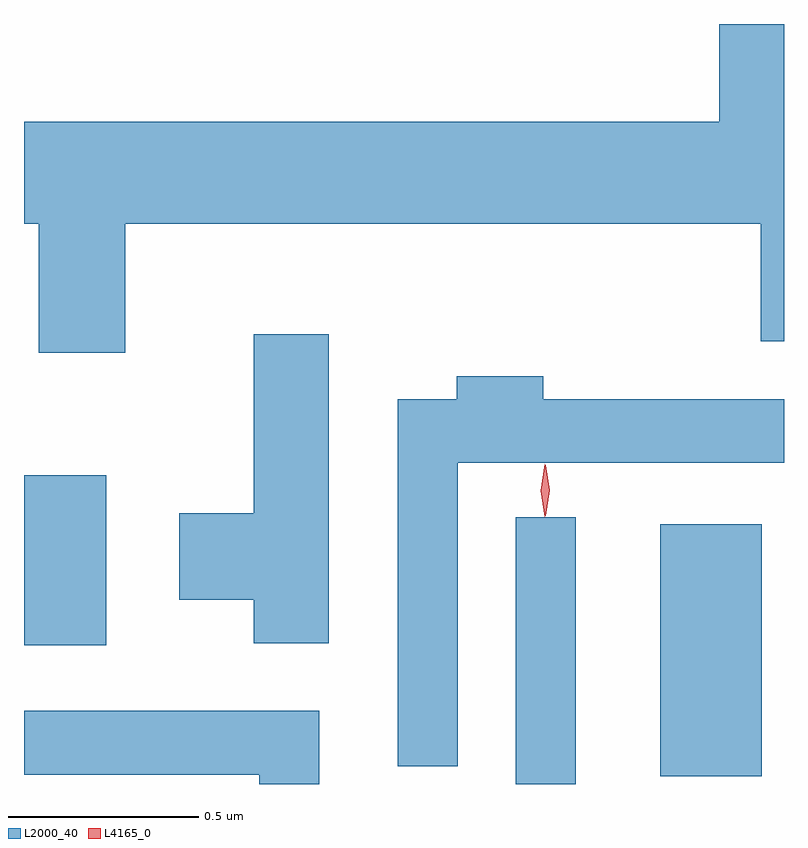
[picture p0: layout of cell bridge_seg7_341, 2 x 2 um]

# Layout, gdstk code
import gdstk
lib = gdstk.Library(unit=1e-6, precision=1e-09)
def R(c, l, rs):  # rectangles x0, y0, x1, y1
    for r in rs: c.add(gdstk.rectangle(r[:2], r[2:], *l))
def P(c, l, *ps):  # polygons
    for p in ps: c.add(gdstk.Polygon(p, *l))
L2000_40 = (2000, 40)
L4165_0 = (4165, 0)

bridge_seg7_341 = lib.new_cell('bridge_seg7_341')
R(bridge_seg7_341, L2000_40, [(1184.276,1763.901,1184.434,1764.603), (1184.656,1763.921,1184.924,1764.584), (1182.982,1764.266,1183.199,1764.714)])
P(bridge_seg7_341, L2000_40, [(1183.249,1765.376),(1184.921,1765.376),(1184.921,1765.066),(1184.982,1765.066),(1184.982,1765.901),(1184.811,1765.901),(1184.811,1765.644),(1182.982,1765.644),(1182.982,1765.376),(1183.021,1765.376),(1183.021,1765.036),(1183.249,1765.036)],
  [(1183.784,1765.084),(1183.586,1765.084),(1183.586,1764.614),(1183.391,1764.614),(1183.391,1764.386),(1183.586,1764.386),(1183.586,1764.271),(1183.784,1764.271)],
  [(1184.124,1764.746),(1184.982,1764.746),(1184.982,1764.914),(1184.349,1764.914),(1184.349,1764.974),(1184.121,1764.974),(1184.121,1764.914),(1183.966,1764.914),(1183.966,1763.948),(1184.124,1763.948)],
  [(1183.759,1764.094),(1182.982,1764.094),(1182.982,1763.926),(1183.601,1763.926),(1183.601,1763.901),(1183.759,1763.901)])
P(bridge_seg7_341, L4165_0, [(1184.352,1764.603),(1184.352,1764.604),(1184.342,1764.673),(1184.352,1764.742),(1184.352,1764.743),(1184.353,1764.742),(1184.362,1764.673),(1184.353,1764.604)],
  [(1184.354,1764.607),(1184.345,1764.674),(1184.354,1764.74),(1184.355,1764.741),(1184.355,1764.74),(1184.365,1764.674),(1184.355,1764.607),(1184.355,1764.607)])

lib.write_gds('bridge_seg7_341.gds')
